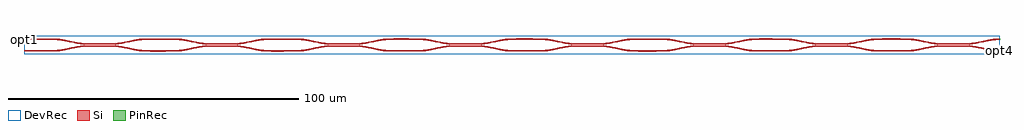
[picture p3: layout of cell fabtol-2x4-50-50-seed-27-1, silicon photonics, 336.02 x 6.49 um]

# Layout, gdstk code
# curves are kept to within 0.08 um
import gdstk
lib = gdstk.Library(unit=1e-6, precision=1e-09)
def R(c, l, rs):  # rectangles x0, y0, x1, y1
    for r in rs: c.add(gdstk.rectangle(r[:2], r[2:], *l))
def P(c, l, *ps):  # polygons
    for p in ps: c.add(gdstk.Polygon(p, *l))
Si = (1, 0)
PinRec = (1, 10)
DevRec = (68, 0)

layer_3_0_phase_sec_3_12 = lib.new_cell('layer-3_0_phase_sec_3$12')
P(layer_3_0_phase_sec_3_12, Si, [(1.371,-0.236),(0,-0.225),(0,0.225),(10,0.225),(10,-0.225)])

layer_3_0_phase_sec_2_12 = lib.new_cell('layer-3_0_phase_sec_2$12')
P(layer_3_0_phase_sec_2_12, Si, [(1.538,-0.241),(0,-0.225),(0,0.225),(10,0.225),(10,-0.225)])

layer_3_0_phase_sec_1_12 = lib.new_cell('layer-3_0_phase_sec_1$12')
P(layer_3_0_phase_sec_1_12, Si, [(2.269,-0.234),(0,-0.225),(0,0.225),(10,0.225),(10,-0.225)])

layer_3_0_phase_sec_0_12 = lib.new_cell('layer-3_0_phase_sec_0$12')
P(layer_3_0_phase_sec_0_12, Si, [(3.402,-0.244),(0,-0.225),(0,0.225),(10,0.225),(10,-0.225)])

layer_0_0_phase_sec_0_12 = lib.new_cell('layer-0_0_phase_sec_0$12')
P(layer_0_0_phase_sec_0_12, Si, [(4.558,-0.229),(0,-0.225),(0,0.225),(10,0.225),(10,-0.225)])

layer_0_0_phase_sec_1_12 = lib.new_cell('layer-0_0_phase_sec_1$12')
P(layer_0_0_phase_sec_1_12, Si, [(4.118,-0.23),(0,-0.225),(0,0.225),(10,0.225),(10,-0.225)])

layer_1_0_phase_sec_1_12 = lib.new_cell('layer-1_0_phase_sec_1$12')
P(layer_1_0_phase_sec_1_12, Si, [(1.074,-0.248),(0,-0.225),(0,0.225),(10,0.225),(10,-0.225)])

dc_arm_down_12 = lib.new_cell('dc_arm_down$12')
R(dc_arm_down_12, Si, [(12,-0.55,20,-0.1)])
P(dc_arm_down_12, Si, [(32,-2.225),(30.861,-2.188),(29.344,-2.033),(22.966,-0.793),(21.481,-0.613),(20,-0.55),(20,-0.1),(21.139,-0.137),(22.656,-0.292),(29.034,-1.532),(30.519,-1.712),(32,-1.775)],
  [(0,-2.225),(0,-1.775),(1.481,-1.712),(2.966,-1.532),(9.344,-0.292),(10.861,-0.137),(12,-0.1),(12,-0.55),(10.519,-0.613),(9.034,-0.793),(2.656,-2.033),(1.139,-2.188)])

dc_arm_up_12 = lib.new_cell('dc_arm_up$12')
R(dc_arm_up_12, Si, [(12,0.1,20,0.55)])
P(dc_arm_up_12, Si, [(20,0.1),(20,0.55),(21.481,0.613),(22.966,0.793),(29.344,2.033),(30.861,2.188),(32,2.225),(32,1.775),(30.519,1.712),(29.034,1.532),(22.656,0.292),(21.139,0.137)],
  [(12,0.1),(10.861,0.137),(9.344,0.292),(2.966,1.532),(1.481,1.712),(0,1.775),(0,2.225),(1.139,2.188),(2.656,2.033),(9.034,0.793),(10.519,0.613),(12,0.55)])

dc_12 = lib.new_cell('dc$12')
dc_12.add(gdstk.Reference(dc_arm_down_12, (0,0)))
dc_12.add(gdstk.Reference(dc_arm_up_12, (0,0)))

layer_0_0_phase_sec_2_12 = lib.new_cell('layer-0_0_phase_sec_2$12')
P(layer_0_0_phase_sec_2_12, Si, [(4.449,-0.235),(0,-0.225),(0,0.225),(10,0.225),(10,-0.225)])

layer_1_0_phase_sec_3_12 = lib.new_cell('layer-1_0_phase_sec_3$12')
P(layer_1_0_phase_sec_3_12, Si, [(5.491,-0.236),(0,-0.225),(0,0.225),(10,0.225),(10,-0.225)])

layer_0_0_phase_sec_3_12 = lib.new_cell('layer-0_0_phase_sec_3$12')
P(layer_0_0_phase_sec_3_12, Si, [(2.744,-0.246),(0,-0.225),(0,0.225),(10,0.225),(10,-0.225)])

layer_1_0_phase_sec_0_12 = lib.new_cell('layer-1_0_phase_sec_0$12')
P(layer_1_0_phase_sec_0_12, Si, [(1.158,-0.232),(0,-0.225),(0,0.225),(10,0.225),(10,-0.225)])

layer_1_0_phase_sec_2_12 = lib.new_cell('layer-1_0_phase_sec_2$12')
P(layer_1_0_phase_sec_2_12, Si, [(2.585,-0.245),(0,-0.225),(0,0.225),(10,0.225),(10,-0.225)])

layer_2_0_phase_sec_0_12 = lib.new_cell('layer-2_0_phase_sec_0$12')
P(layer_2_0_phase_sec_0_12, Si, [(4.271,-0.244),(0,-0.225),(0,0.225),(10,0.225),(10,-0.225)])

layer_2_0_phase_sec_1_12 = lib.new_cell('layer-2_0_phase_sec_1$12')
P(layer_2_0_phase_sec_1_12, Si, [(5.522,-0.235),(0,-0.225),(0,0.225),(10,0.225),(10,-0.225)])

layer_2_0_phase_sec_2_12 = lib.new_cell('layer-2_0_phase_sec_2$12')
P(layer_2_0_phase_sec_2_12, Si, [(3.064,-0.234),(0,-0.225),(0,0.225),(10,0.225),(10,-0.225)])

layer_2_0_phase_sec_3_12 = lib.new_cell('layer-2_0_phase_sec_3$12')
P(layer_2_0_phase_sec_3_12, Si, [(1.534,-0.244),(0,-0.225),(0,0.225),(10,0.225),(10,-0.225)])

fabtol_2x4_50_50_seed_27 = lib.new_cell('fabtol-2x4-50-50-seed-27-1')
R(fabtol_2x4_50_50_seed_27, DevRec, [(0,-1,336,5.493)])
fabtol_2x4_50_50_seed_27.add(gdstk.FlexPath([(335.99,0.248),(336.01,0.248)], 0.45, ends="flush", simple_path=True, layer=1, datatype=10))  # PinRec
fabtol_2x4_50_50_seed_27.add(gdstk.FlexPath([(335.99,4.248),(336.01,4.248)], 0.45, ends="flush", simple_path=True, layer=1, datatype=10))  # PinRec
fabtol_2x4_50_50_seed_27.add(gdstk.FlexPath([(0.01,4.248),(-0.01,4.248)], 0.45, ends="flush", simple_path=True, layer=1, datatype=10))  # PinRec
fabtol_2x4_50_50_seed_27.add(gdstk.Reference(layer_3_0_phase_sec_3_12, (294,0.248)))
fabtol_2x4_50_50_seed_27.add(gdstk.Reference(layer_3_0_phase_sec_2_12, (294,4.248)))
fabtol_2x4_50_50_seed_27.add(gdstk.Reference(layer_3_0_phase_sec_1_12, (252,0.248)))
fabtol_2x4_50_50_seed_27.add(gdstk.Reference(layer_3_0_phase_sec_0_12, (252,4.248)))
fabtol_2x4_50_50_seed_27.add(gdstk.Reference(layer_0_0_phase_sec_0_12, (0,4.248)))
fabtol_2x4_50_50_seed_27.add(gdstk.Reference(layer_0_0_phase_sec_1_12, (0,0.248)))
fabtol_2x4_50_50_seed_27.add(gdstk.Reference(layer_1_0_phase_sec_1_12, (84,0.248)))
fabtol_2x4_50_50_seed_27.add(gdstk.Reference(dc_12, (10,2.248)))
fabtol_2x4_50_50_seed_27.add(gdstk.Reference(dc_12, (52,2.248)))
fabtol_2x4_50_50_seed_27.add(gdstk.Reference(dc_12, (94,2.248)))
fabtol_2x4_50_50_seed_27.add(gdstk.Reference(dc_12, (136,2.248)))
fabtol_2x4_50_50_seed_27.add(gdstk.Reference(dc_12, (178,2.248)))
fabtol_2x4_50_50_seed_27.add(gdstk.Reference(dc_12, (220,2.248)))
fabtol_2x4_50_50_seed_27.add(gdstk.Reference(dc_12, (262,2.248)))
fabtol_2x4_50_50_seed_27.add(gdstk.Reference(dc_12, (304,2.248)))
fabtol_2x4_50_50_seed_27.add(gdstk.Reference(layer_0_0_phase_sec_2_12, (42,4.248)))
fabtol_2x4_50_50_seed_27.add(gdstk.Reference(layer_1_0_phase_sec_3_12, (126,0.248)))
fabtol_2x4_50_50_seed_27.add(gdstk.Reference(layer_0_0_phase_sec_3_12, (42,0.248)))
fabtol_2x4_50_50_seed_27.add(gdstk.Reference(layer_1_0_phase_sec_0_12, (84,4.248)))
fabtol_2x4_50_50_seed_27.add(gdstk.Reference(layer_1_0_phase_sec_2_12, (126,4.248)))
fabtol_2x4_50_50_seed_27.add(gdstk.Reference(layer_2_0_phase_sec_0_12, (168,4.248)))
fabtol_2x4_50_50_seed_27.add(gdstk.Reference(layer_2_0_phase_sec_1_12, (168,0.248)))
fabtol_2x4_50_50_seed_27.add(gdstk.Reference(layer_2_0_phase_sec_2_12, (210,4.248)))
fabtol_2x4_50_50_seed_27.add(gdstk.Reference(layer_2_0_phase_sec_3_12, (210,0.248)))
fabtol_2x4_50_50_seed_27.add(gdstk.Label('opt4', (336,0.248), layer=1, texttype=10))
fabtol_2x4_50_50_seed_27.add(gdstk.Label('opt3', (336,4.248), layer=1, texttype=10))
fabtol_2x4_50_50_seed_27.add(gdstk.Label('opt1', (0,4.248), layer=1, texttype=10))

lib.write_gds('fabtol-2x4-50-50-seed-27-1.gds')
